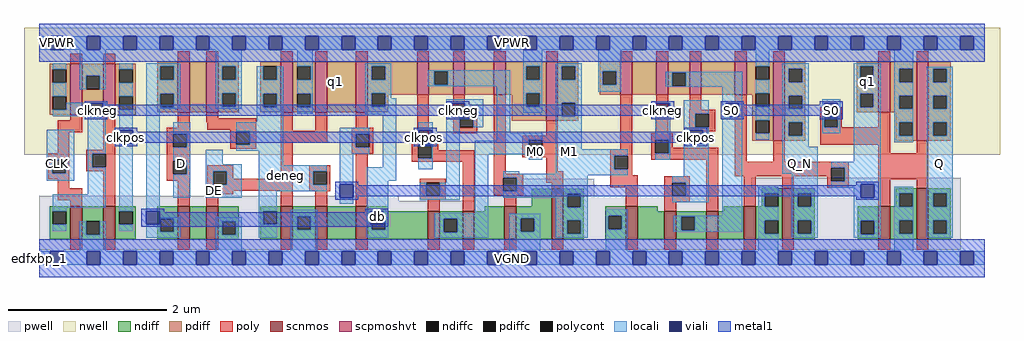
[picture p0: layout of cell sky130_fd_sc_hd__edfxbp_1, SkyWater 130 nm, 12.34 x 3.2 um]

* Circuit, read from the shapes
.subckt sky130_fd_sc_hd__edfxbp_1 CLK D DE VGND VNB VPB VPWR Q Q_N
XM1 VGND CLK n1 VNB sky130_fd_pr__nfet_01v8 w=0.42 l=0.15
XM2 n2 n1 VGND VNB sky130_fd_pr__nfet_01v8 w=0.42 l=0.15
XM3 n3 D n4 VNB sky130_fd_pr__nfet_01v8 w=0.42 l=0.15
XM4 VGND DE n3 VNB sky130_fd_pr__nfet_01v8 w=0.42 l=0.15
XM5 VGND DE n5 VNB sky130_fd_pr__nfet_01v8 w=0.42 l=0.15
XM6 n6 n5 VGND VNB sky130_fd_pr__nfet_01v8 w=0.42 l=0.15
XM7 n4 n7 n6 VNB sky130_fd_pr__nfet_01v8 w=0.42 l=0.15
XM8 n8 n1 n4 VNB sky130_fd_pr__nfet_01v8 w=0.36 l=0.15
XM9 n9 n2 n8 VNB sky130_fd_pr__nfet_01v8 w=0.36 l=0.15
XM10 VGND n10 n9 VNB sky130_fd_pr__nfet_01v8 w=0.42 l=0.15
XM11 n10 n8 VGND VNB sky130_fd_pr__nfet_01v8 w=0.64 l=0.15
XM12 n11 n10 VGND VNB sky130_fd_pr__nfet_01v8 w=0.42 l=0.15
XM13 n12 n2 n11 VNB sky130_fd_pr__nfet_01v8 w=0.36 l=0.15
XM14 n13 n1 n12 VNB sky130_fd_pr__nfet_01v8 w=0.36 l=0.15
XM15 VGND n7 n13 VNB sky130_fd_pr__nfet_01v8 w=0.42 l=0.15
XM16 Q_N n7 VGND VNB sky130_fd_pr__nfet_01v8 w=0.65 l=0.15
XM17 VGND n12 n7 VNB sky130_fd_pr__nfet_01v8 w=0.42 l=0.15
XM18 Q n12 VGND VNB sky130_fd_pr__nfet_01v8 w=0.65 l=0.15
XM19 VPWR CLK n1 VPB sky130_fd_pr__pfet_01v8_hvt w=0.64 l=0.15
XM20 n2 n1 VPWR VPB sky130_fd_pr__pfet_01v8_hvt w=0.64 l=0.15
XM21 n14 D n4 VPB sky130_fd_pr__pfet_01v8_hvt w=0.64 l=0.15
XM22 VPWR n5 n14 VPB sky130_fd_pr__pfet_01v8_hvt w=0.64 l=0.15
XM23 VPWR DE n5 VPB sky130_fd_pr__pfet_01v8_hvt w=0.64 l=0.15
XM24 n15 DE VPWR VPB sky130_fd_pr__pfet_01v8_hvt w=0.64 l=0.15
XM25 n4 n7 n15 VPB sky130_fd_pr__pfet_01v8_hvt w=0.64 l=0.15
XM26 n8 n2 n4 VPB sky130_fd_pr__pfet_01v8_hvt w=0.42 l=0.15
XM27 n16 n1 n8 VPB sky130_fd_pr__pfet_01v8_hvt w=0.42 l=0.15
XM28 VPWR n10 n16 VPB sky130_fd_pr__pfet_01v8_hvt w=0.42 l=0.15
XM29 n10 n8 VPWR VPB sky130_fd_pr__pfet_01v8_hvt w=0.75 l=0.15
XM30 n17 n10 VPWR VPB sky130_fd_pr__pfet_01v8_hvt w=0.42 l=0.15
XM31 n12 n1 n17 VPB sky130_fd_pr__pfet_01v8_hvt w=0.42 l=0.15
XM32 n18 n2 n12 VPB sky130_fd_pr__pfet_01v8_hvt w=0.42 l=0.15
XM33 VPWR n7 n18 VPB sky130_fd_pr__pfet_01v8_hvt w=0.42 l=0.15
XM34 Q_N n7 VPWR VPB sky130_fd_pr__pfet_01v8_hvt w=1 l=0.15
XM35 VPWR n12 n7 VPB sky130_fd_pr__pfet_01v8_hvt w=0.64 l=0.15
XM36 Q n12 VPWR VPB sky130_fd_pr__pfet_01v8_hvt w=1 l=0.15
.ends

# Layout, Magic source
magic
tech sky130B
magscale 1 2
<< nwell >>
rect -38 261 2430 582
<< pwell >>
rect 1220 157 1404 201
rect 1801 157 2331 203
rect 1 145 909 157
rect 1101 145 2331 157
rect 1 21 2331 145
rect 29 -17 63 21
<< scnmos >>
rect 79 47 109 131
rect 163 47 193 131
rect 351 47 381 131
rect 423 47 453 131
rect 611 47 641 131
rect 699 47 729 131
rect 801 47 831 131
rect 983 47 1013 119
rect 1071 47 1101 119
rect 1177 47 1207 131
rect 1296 47 1326 175
rect 1484 47 1514 131
rect 1581 47 1611 119
rect 1687 47 1717 119
rect 1782 47 1812 131
rect 1879 47 1909 177
rect 2122 47 2152 131
rect 2219 47 2249 177
<< scpmoshvt >>
rect 79 363 109 491
rect 163 363 193 491
rect 351 369 381 497
rect 423 369 453 497
rect 611 369 641 497
rect 699 369 729 497
rect 801 369 831 497
rect 956 413 986 497
rect 1047 413 1077 497
rect 1150 413 1180 497
rect 1282 347 1312 497
rect 1470 413 1500 497
rect 1561 413 1591 497
rect 1645 413 1675 497
rect 1759 413 1789 497
rect 1856 297 1886 497
rect 2122 369 2152 497
rect 2219 297 2249 497
<< ndiff >>
rect 27 119 79 131
rect 27 85 35 119
rect 69 85 79 119
rect 27 47 79 85
rect 109 93 163 131
rect 109 59 119 93
rect 153 59 163 93
rect 109 47 163 59
rect 193 119 245 131
rect 193 85 203 119
rect 237 85 245 119
rect 193 47 245 85
rect 299 100 351 131
rect 299 66 307 100
rect 341 66 351 100
rect 299 47 351 66
rect 381 47 423 131
rect 453 93 505 131
rect 453 59 463 93
rect 497 59 505 93
rect 453 47 505 59
rect 559 119 611 131
rect 559 85 567 119
rect 601 85 611 119
rect 559 47 611 85
rect 641 106 699 131
rect 641 72 653 106
rect 687 72 699 106
rect 641 47 699 72
rect 729 47 801 131
rect 831 119 883 131
rect 1246 131 1296 175
rect 1127 119 1177 131
rect 831 106 983 119
rect 831 72 841 106
rect 875 72 983 106
rect 831 47 983 72
rect 1013 99 1071 119
rect 1013 65 1023 99
rect 1057 65 1071 99
rect 1013 47 1071 65
rect 1101 47 1177 119
rect 1207 101 1296 131
rect 1207 67 1218 101
rect 1252 67 1296 101
rect 1207 47 1296 67
rect 1326 163 1378 175
rect 1326 129 1336 163
rect 1370 129 1378 163
rect 1326 95 1378 129
rect 1326 61 1336 95
rect 1370 61 1378 95
rect 1326 47 1378 61
rect 1432 107 1484 131
rect 1432 73 1440 107
rect 1474 73 1484 107
rect 1432 47 1484 73
rect 1514 119 1564 131
rect 1827 164 1879 177
rect 1827 131 1835 164
rect 1732 119 1782 131
rect 1514 47 1581 119
rect 1611 104 1687 119
rect 1611 70 1624 104
rect 1658 70 1687 104
rect 1611 47 1687 70
rect 1717 47 1782 119
rect 1812 130 1835 131
rect 1869 130 1879 164
rect 1812 96 1879 130
rect 1812 62 1835 96
rect 1869 62 1879 96
rect 1812 47 1879 62
rect 1909 164 1961 177
rect 1909 130 1919 164
rect 1953 130 1961 164
rect 2167 164 2219 177
rect 2167 131 2175 164
rect 1909 96 1961 130
rect 1909 62 1919 96
rect 1953 62 1961 96
rect 1909 47 1961 62
rect 2070 94 2122 131
rect 2070 60 2078 94
rect 2112 60 2122 94
rect 2070 47 2122 60
rect 2152 130 2175 131
rect 2209 130 2219 164
rect 2152 96 2219 130
rect 2152 62 2175 96
rect 2209 62 2219 96
rect 2152 47 2219 62
rect 2249 164 2305 177
rect 2249 130 2261 164
rect 2295 130 2305 164
rect 2249 96 2305 130
rect 2249 62 2261 96
rect 2295 62 2305 96
rect 2249 47 2305 62
<< pdiff >>
rect 27 477 79 491
rect 27 443 35 477
rect 69 443 79 477
rect 27 409 79 443
rect 27 375 35 409
rect 69 375 79 409
rect 27 363 79 375
rect 109 461 163 491
rect 109 427 119 461
rect 153 427 163 461
rect 109 363 163 427
rect 193 477 245 491
rect 193 443 203 477
rect 237 443 245 477
rect 193 409 245 443
rect 193 375 203 409
rect 237 375 245 409
rect 193 363 245 375
rect 299 485 351 497
rect 299 451 307 485
rect 341 451 351 485
rect 299 415 351 451
rect 299 381 307 415
rect 341 381 351 415
rect 299 369 351 381
rect 381 369 423 497
rect 453 485 505 497
rect 453 451 463 485
rect 497 451 505 485
rect 453 417 505 451
rect 453 383 463 417
rect 497 383 505 417
rect 453 369 505 383
rect 559 485 611 497
rect 559 451 567 485
rect 601 451 611 485
rect 559 415 611 451
rect 559 381 567 415
rect 601 381 611 415
rect 559 369 611 381
rect 641 485 699 497
rect 641 451 653 485
rect 687 451 699 485
rect 641 415 699 451
rect 641 381 653 415
rect 687 381 699 415
rect 641 369 699 381
rect 729 369 801 497
rect 831 485 956 497
rect 831 451 841 485
rect 875 451 956 485
rect 831 417 956 451
rect 831 383 841 417
rect 875 413 956 417
rect 986 472 1047 497
rect 986 438 999 472
rect 1033 438 1047 472
rect 986 413 1047 438
rect 1077 413 1150 497
rect 1180 485 1282 497
rect 1180 451 1232 485
rect 1266 451 1282 485
rect 1180 417 1282 451
rect 1180 413 1232 417
rect 875 383 883 413
rect 831 369 883 383
rect 1195 383 1232 413
rect 1266 383 1282 417
rect 1195 347 1282 383
rect 1312 485 1364 497
rect 1312 451 1322 485
rect 1356 451 1364 485
rect 1312 393 1364 451
rect 1418 472 1470 497
rect 1418 438 1426 472
rect 1460 438 1470 472
rect 1418 413 1470 438
rect 1500 413 1561 497
rect 1591 469 1645 497
rect 1591 435 1601 469
rect 1635 435 1645 469
rect 1591 413 1645 435
rect 1675 413 1759 497
rect 1789 485 1856 497
rect 1789 451 1812 485
rect 1846 451 1856 485
rect 1789 417 1856 451
rect 1789 413 1812 417
rect 1312 359 1322 393
rect 1356 359 1364 393
rect 1312 347 1364 359
rect 1804 383 1812 413
rect 1846 383 1856 417
rect 1804 349 1856 383
rect 1804 315 1812 349
rect 1846 315 1856 349
rect 1804 297 1856 315
rect 1886 479 1938 497
rect 1886 445 1896 479
rect 1930 445 1938 479
rect 1886 411 1938 445
rect 1886 377 1896 411
rect 1930 377 1938 411
rect 2068 485 2122 497
rect 2068 451 2076 485
rect 2110 451 2122 485
rect 2068 415 2122 451
rect 2068 381 2076 415
rect 2110 381 2122 415
rect 1886 343 1938 377
rect 1886 309 1896 343
rect 1930 309 1938 343
rect 1886 297 1938 309
rect 2068 369 2122 381
rect 2152 479 2219 497
rect 2152 445 2175 479
rect 2209 445 2219 479
rect 2152 411 2219 445
rect 2152 377 2175 411
rect 2209 377 2219 411
rect 2152 369 2219 377
rect 2167 343 2219 369
rect 2167 309 2175 343
rect 2209 309 2219 343
rect 2167 297 2219 309
rect 2249 479 2305 497
rect 2249 445 2261 479
rect 2295 445 2305 479
rect 2249 411 2305 445
rect 2249 377 2261 411
rect 2295 377 2305 411
rect 2249 343 2305 377
rect 2249 309 2261 343
rect 2295 309 2305 343
rect 2249 297 2305 309
<< ndiffc >>
rect 35 85 69 119
rect 119 59 153 93
rect 203 85 237 119
rect 307 66 341 100
rect 463 59 497 93
rect 567 85 601 119
rect 653 72 687 106
rect 841 72 875 106
rect 1023 65 1057 99
rect 1218 67 1252 101
rect 1336 129 1370 163
rect 1336 61 1370 95
rect 1440 73 1474 107
rect 1624 70 1658 104
rect 1835 130 1869 164
rect 1835 62 1869 96
rect 1919 130 1953 164
rect 1919 62 1953 96
rect 2078 60 2112 94
rect 2175 130 2209 164
rect 2175 62 2209 96
rect 2261 130 2295 164
rect 2261 62 2295 96
<< pdiffc >>
rect 35 443 69 477
rect 35 375 69 409
rect 119 427 153 461
rect 203 443 237 477
rect 203 375 237 409
rect 307 451 341 485
rect 307 381 341 415
rect 463 451 497 485
rect 463 383 497 417
rect 567 451 601 485
rect 567 381 601 415
rect 653 451 687 485
rect 653 381 687 415
rect 841 451 875 485
rect 841 383 875 417
rect 999 438 1033 472
rect 1232 451 1266 485
rect 1232 383 1266 417
rect 1322 451 1356 485
rect 1426 438 1460 472
rect 1601 435 1635 469
rect 1812 451 1846 485
rect 1322 359 1356 393
rect 1812 383 1846 417
rect 1812 315 1846 349
rect 1896 445 1930 479
rect 1896 377 1930 411
rect 2076 451 2110 485
rect 2076 381 2110 415
rect 1896 309 1930 343
rect 2175 445 2209 479
rect 2175 377 2209 411
rect 2175 309 2209 343
rect 2261 445 2295 479
rect 2261 377 2295 411
rect 2261 309 2295 343
<< poly >>
rect 79 491 109 517
rect 163 491 193 517
rect 351 497 381 523
rect 423 497 453 523
rect 611 497 641 523
rect 699 497 729 523
rect 801 497 831 523
rect 956 497 986 523
rect 1047 497 1077 523
rect 1150 497 1180 523
rect 1282 497 1312 523
rect 1470 497 1500 523
rect 1561 497 1591 523
rect 1645 497 1675 523
rect 1759 497 1789 523
rect 1856 497 1886 523
rect 2122 497 2152 523
rect 2219 497 2249 523
rect 79 348 109 363
rect 47 318 109 348
rect 47 265 77 318
rect 163 274 193 363
rect 351 330 381 369
rect 423 354 453 369
rect 423 343 549 354
rect 23 249 77 265
rect 23 215 33 249
rect 67 215 77 249
rect 119 264 193 274
rect 119 230 135 264
rect 169 230 193 264
rect 119 220 193 230
rect 23 199 77 215
rect 47 176 77 199
rect 47 146 109 176
rect 79 131 109 146
rect 163 131 193 220
rect 323 314 383 330
rect 425 324 549 343
rect 323 280 339 314
rect 373 280 383 314
rect 323 246 383 280
rect 483 321 549 324
rect 483 287 499 321
rect 533 287 549 321
rect 483 277 549 287
rect 611 322 641 369
rect 699 322 729 369
rect 801 330 831 369
rect 611 292 729 322
rect 791 314 845 330
rect 323 212 339 246
rect 373 212 383 246
rect 323 196 383 212
rect 425 219 491 235
rect 351 131 381 196
rect 425 185 441 219
rect 475 200 491 219
rect 611 200 641 292
rect 791 280 801 314
rect 835 280 845 314
rect 956 297 986 413
rect 1047 381 1077 413
rect 1047 365 1108 381
rect 1047 331 1064 365
rect 1098 331 1108 365
rect 1047 315 1108 331
rect 791 264 845 280
rect 943 287 1009 297
rect 475 185 641 200
rect 425 176 641 185
rect 423 170 641 176
rect 423 162 491 170
rect 423 131 453 162
rect 611 131 641 170
rect 683 219 737 235
rect 683 185 693 219
rect 727 185 737 219
rect 683 169 737 185
rect 699 131 729 169
rect 801 131 831 264
rect 943 253 959 287
rect 993 273 1009 287
rect 993 253 1101 273
rect 943 243 1101 253
rect 963 191 1029 201
rect 963 157 979 191
rect 1013 157 1029 191
rect 963 147 1029 157
rect 983 119 1013 147
rect 1071 119 1101 243
rect 1150 213 1180 413
rect 1282 309 1312 347
rect 1222 299 1312 309
rect 1222 265 1238 299
rect 1272 265 1312 299
rect 1470 275 1500 413
rect 1561 315 1591 413
rect 1645 375 1675 413
rect 1644 365 1710 375
rect 1644 331 1660 365
rect 1694 331 1710 365
rect 1644 321 1710 331
rect 1222 255 1312 265
rect 1282 220 1312 255
rect 1445 259 1500 275
rect 1445 225 1455 259
rect 1489 225 1500 259
rect 1548 299 1602 315
rect 1548 265 1558 299
rect 1592 279 1602 299
rect 1592 265 1717 279
rect 1548 249 1717 265
rect 1150 203 1224 213
rect 1150 169 1174 203
rect 1208 169 1224 203
rect 1282 190 1326 220
rect 1296 175 1326 190
rect 1445 209 1500 225
rect 1445 179 1514 209
rect 1150 159 1224 169
rect 1177 131 1207 159
rect 1484 131 1514 179
rect 1581 191 1645 207
rect 1581 157 1601 191
rect 1635 157 1645 191
rect 1581 141 1645 157
rect 1581 119 1611 141
rect 1687 119 1717 249
rect 1759 244 1789 413
rect 1976 365 2030 381
rect 1976 331 1986 365
rect 2020 331 2030 365
rect 2122 331 2152 369
rect 1856 244 1886 297
rect 1976 286 2152 331
rect 2122 265 2152 286
rect 2219 265 2249 297
rect 1759 228 2047 244
rect 1759 207 2003 228
rect 1782 131 1812 207
rect 1879 177 1909 207
rect 1993 194 2003 207
rect 2037 194 2047 228
rect 1993 178 2047 194
rect 2122 199 2249 265
rect 2122 131 2152 199
rect 2219 177 2249 199
rect 79 21 109 47
rect 163 21 193 47
rect 351 21 381 47
rect 423 21 453 47
rect 611 21 641 47
rect 699 21 729 47
rect 801 21 831 47
rect 983 21 1013 47
rect 1071 21 1101 47
rect 1177 21 1207 47
rect 1296 21 1326 47
rect 1484 21 1514 47
rect 1581 21 1611 47
rect 1687 21 1717 47
rect 1782 21 1812 47
rect 1879 21 1909 47
rect 2122 21 2152 47
rect 2219 21 2249 47
<< polycont >>
rect 33 215 67 249
rect 135 230 169 264
rect 339 280 373 314
rect 499 287 533 321
rect 339 212 373 246
rect 441 185 475 219
rect 801 280 835 314
rect 1064 331 1098 365
rect 693 185 727 219
rect 959 253 993 287
rect 979 157 1013 191
rect 1238 265 1272 299
rect 1660 331 1694 365
rect 1455 225 1489 259
rect 1558 265 1592 299
rect 1174 169 1208 203
rect 1601 157 1635 191
rect 1986 331 2020 365
rect 2003 194 2037 228
<< locali >>
rect 0 527 29 561
rect 63 527 121 561
rect 155 527 213 561
rect 247 527 305 561
rect 339 527 397 561
rect 431 527 489 561
rect 523 527 581 561
rect 615 527 673 561
rect 707 527 765 561
rect 799 527 857 561
rect 891 527 949 561
rect 983 527 1041 561
rect 1075 527 1133 561
rect 1167 527 1225 561
rect 1259 527 1317 561
rect 1351 527 1409 561
rect 1443 527 1501 561
rect 1535 527 1593 561
rect 1627 527 1685 561
rect 1719 527 1777 561
rect 1811 527 1869 561
rect 1903 527 1961 561
rect 1995 527 2053 561
rect 2087 527 2145 561
rect 2179 527 2237 561
rect 2271 527 2329 561
rect 2363 527 2392 561
rect 35 477 69 493
rect 35 409 69 443
rect 103 461 169 527
rect 103 427 119 461
rect 153 427 169 461
rect 203 477 237 493
rect 203 409 237 443
rect 69 391 169 393
rect 69 375 127 391
rect 35 359 127 375
rect 123 357 127 359
rect 161 357 169 391
rect 19 249 89 325
rect 19 215 33 249
rect 67 215 89 249
rect 19 195 89 215
rect 123 264 169 357
rect 123 230 135 264
rect 123 161 169 230
rect 35 127 169 161
rect 203 323 237 375
rect 35 119 69 127
rect 203 119 237 289
rect 35 69 69 85
rect 103 59 119 93
rect 153 59 169 93
rect 203 69 237 85
rect 271 485 357 493
rect 271 451 307 485
rect 341 451 357 485
rect 271 415 357 451
rect 271 381 307 415
rect 341 381 357 415
rect 271 378 357 381
rect 447 485 513 527
rect 653 485 692 527
rect 447 451 463 485
rect 497 451 513 485
rect 447 417 513 451
rect 447 383 463 417
rect 497 383 513 417
rect 447 378 513 383
rect 551 451 567 485
rect 601 451 617 485
rect 551 415 617 451
rect 551 381 567 415
rect 601 381 617 415
rect 271 119 305 378
rect 551 344 617 381
rect 687 451 692 485
rect 653 415 692 451
rect 687 381 692 415
rect 653 365 692 381
rect 825 485 891 493
rect 825 451 841 485
rect 875 451 891 485
rect 1225 485 1272 527
rect 825 417 891 451
rect 983 472 1191 475
rect 983 438 999 472
rect 1033 438 1191 472
rect 983 435 1191 438
rect 825 383 841 417
rect 875 404 891 417
rect 875 383 903 404
rect 825 364 903 383
rect 339 314 383 344
rect 373 280 383 314
rect 339 246 383 280
rect 499 321 617 344
rect 533 287 617 321
rect 373 212 383 246
rect 339 153 383 212
rect 422 237 465 274
rect 499 271 617 287
rect 422 219 513 237
rect 422 185 441 219
rect 475 185 513 219
rect 422 153 513 185
rect 556 235 617 271
rect 761 314 835 330
rect 761 280 801 314
rect 761 264 835 280
rect 556 219 727 235
rect 556 185 693 219
rect 556 169 727 185
rect 761 187 795 264
rect 869 230 903 364
rect 1030 391 1123 401
rect 1030 357 1042 391
rect 1076 365 1123 391
rect 556 119 601 169
rect 761 137 795 153
rect 829 196 903 230
rect 959 323 996 344
rect 959 289 960 323
rect 994 289 996 323
rect 959 287 996 289
rect 993 253 996 287
rect 959 225 996 253
rect 305 100 357 103
rect 305 85 307 100
rect 103 17 169 59
rect 271 66 307 85
rect 341 66 357 100
rect 271 51 357 66
rect 447 93 513 103
rect 447 59 463 93
rect 497 59 513 93
rect 447 17 513 59
rect 556 85 567 119
rect 556 51 601 85
rect 637 106 703 122
rect 637 72 653 106
rect 687 72 703 106
rect 637 17 703 72
rect 829 119 883 196
rect 1030 191 1064 357
rect 1098 331 1123 365
rect 1157 315 1191 435
rect 1225 451 1232 485
rect 1266 451 1272 485
rect 1225 417 1272 451
rect 1225 383 1232 417
rect 1266 383 1272 417
rect 1225 367 1272 383
rect 1306 485 1372 493
rect 1306 451 1322 485
rect 1356 451 1372 485
rect 1306 393 1372 451
rect 1414 472 1472 527
rect 1414 438 1426 472
rect 1460 438 1472 472
rect 1812 485 1846 527
rect 1414 421 1472 438
rect 1585 469 1778 471
rect 1585 435 1601 469
rect 1635 435 1778 469
rect 1585 433 1778 435
rect 1306 359 1322 393
rect 1356 359 1372 393
rect 1157 299 1272 315
rect 1157 297 1238 299
rect 963 157 979 191
rect 1013 157 1064 191
rect 963 147 1064 157
rect 1102 265 1238 297
rect 1102 263 1272 265
rect 829 85 837 119
rect 871 106 883 119
rect 1102 113 1136 263
rect 1238 249 1272 263
rect 1306 275 1372 359
rect 1558 391 1596 393
rect 1558 357 1560 391
rect 1594 357 1596 391
rect 1558 299 1596 357
rect 1306 259 1489 275
rect 1306 225 1455 259
rect 1592 265 1596 299
rect 1558 249 1596 265
rect 1630 365 1694 399
rect 1630 331 1660 365
rect 1630 323 1694 331
rect 1630 289 1644 323
rect 1678 289 1694 323
rect 1174 213 1214 219
rect 1306 213 1489 225
rect 1174 209 1489 213
rect 1174 203 1387 209
rect 1630 207 1694 289
rect 1208 169 1387 203
rect 1174 163 1387 169
rect 1174 153 1336 163
rect 829 72 841 85
rect 875 72 883 106
rect 829 51 883 72
rect 1001 99 1136 113
rect 1306 129 1336 153
rect 1370 129 1387 163
rect 1601 191 1694 207
rect 1635 157 1694 191
rect 1601 141 1694 157
rect 1728 391 1778 433
rect 1728 357 1736 391
rect 1770 357 1778 391
rect 1001 65 1023 99
rect 1057 65 1136 99
rect 1001 51 1136 65
rect 1189 101 1268 112
rect 1189 67 1218 101
rect 1252 67 1268 101
rect 1189 17 1268 67
rect 1306 95 1387 129
rect 1306 61 1336 95
rect 1370 61 1387 95
rect 1306 51 1387 61
rect 1433 107 1488 123
rect 1728 107 1778 357
rect 1812 417 1846 451
rect 1812 349 1846 383
rect 1812 299 1846 315
rect 1880 479 1946 493
rect 1880 445 1896 479
rect 1930 445 1946 479
rect 1880 411 1946 445
rect 1880 377 1896 411
rect 1930 377 1946 411
rect 2060 485 2128 493
rect 2060 451 2076 485
rect 2110 451 2128 485
rect 2060 415 2128 451
rect 1880 343 1946 377
rect 1880 309 1896 343
rect 1930 309 1946 343
rect 1980 391 2026 402
rect 1980 331 1986 391
rect 2020 331 2026 391
rect 1980 315 2026 331
rect 2060 381 2076 415
rect 2110 381 2128 415
rect 1880 282 1946 309
rect 1880 213 1969 282
rect 2060 244 2128 381
rect 2162 479 2211 527
rect 2162 445 2175 479
rect 2209 445 2211 479
rect 2162 411 2211 445
rect 2162 377 2175 411
rect 2209 377 2211 411
rect 2162 343 2211 377
rect 2162 309 2175 343
rect 2209 309 2211 343
rect 2162 293 2211 309
rect 2245 479 2311 484
rect 2245 445 2261 479
rect 2295 445 2311 479
rect 2245 411 2311 445
rect 2245 377 2261 411
rect 2295 377 2311 411
rect 2245 343 2311 377
rect 2245 309 2261 343
rect 2295 309 2311 343
rect 1433 73 1440 107
rect 1474 73 1488 107
rect 1433 17 1488 73
rect 1605 104 1778 107
rect 1605 70 1624 104
rect 1658 70 1778 104
rect 1605 66 1778 70
rect 1819 164 1869 180
rect 1819 130 1835 164
rect 1819 96 1869 130
rect 1819 62 1835 96
rect 1819 17 1869 62
rect 1903 164 1969 213
rect 2003 228 2128 244
rect 2037 194 2128 228
rect 2003 187 2128 194
rect 2003 178 2078 187
rect 1903 130 1919 164
rect 1953 130 1969 164
rect 1903 96 1969 130
rect 1903 62 1919 96
rect 1953 62 1969 96
rect 1903 51 1969 62
rect 2060 153 2078 178
rect 2112 153 2128 187
rect 2060 94 2128 153
rect 2060 60 2078 94
rect 2112 60 2128 94
rect 2060 51 2128 60
rect 2162 164 2211 180
rect 2162 130 2175 164
rect 2209 130 2211 164
rect 2162 96 2211 130
rect 2162 62 2175 96
rect 2209 62 2211 96
rect 2162 17 2211 62
rect 2245 164 2311 309
rect 2245 130 2261 164
rect 2295 130 2311 164
rect 2245 96 2311 130
rect 2245 62 2261 96
rect 2295 62 2311 96
rect 2245 51 2311 62
rect 0 -17 29 17
rect 63 -17 121 17
rect 155 -17 213 17
rect 247 -17 305 17
rect 339 -17 397 17
rect 431 -17 489 17
rect 523 -17 581 17
rect 615 -17 673 17
rect 707 -17 765 17
rect 799 -17 857 17
rect 891 -17 949 17
rect 983 -17 1041 17
rect 1075 -17 1133 17
rect 1167 -17 1225 17
rect 1259 -17 1317 17
rect 1351 -17 1409 17
rect 1443 -17 1501 17
rect 1535 -17 1593 17
rect 1627 -17 1685 17
rect 1719 -17 1777 17
rect 1811 -17 1869 17
rect 1903 -17 1961 17
rect 1995 -17 2053 17
rect 2087 -17 2145 17
rect 2179 -17 2237 17
rect 2271 -17 2329 17
rect 2363 -17 2392 17
<< viali >>
rect 29 527 63 561
rect 121 527 155 561
rect 213 527 247 561
rect 305 527 339 561
rect 397 527 431 561
rect 489 527 523 561
rect 581 527 615 561
rect 673 527 707 561
rect 765 527 799 561
rect 857 527 891 561
rect 949 527 983 561
rect 1041 527 1075 561
rect 1133 527 1167 561
rect 1225 527 1259 561
rect 1317 527 1351 561
rect 1409 527 1443 561
rect 1501 527 1535 561
rect 1593 527 1627 561
rect 1685 527 1719 561
rect 1777 527 1811 561
rect 1869 527 1903 561
rect 1961 527 1995 561
rect 2053 527 2087 561
rect 2145 527 2179 561
rect 2237 527 2271 561
rect 2329 527 2363 561
rect 127 357 161 391
rect 203 289 237 323
rect 1042 365 1076 391
rect 1042 357 1064 365
rect 1064 357 1076 365
rect 271 85 305 119
rect 761 153 795 187
rect 960 289 994 323
rect 837 106 871 119
rect 1560 357 1594 391
rect 1644 289 1678 323
rect 837 85 841 106
rect 841 85 871 106
rect 1736 357 1770 391
rect 1986 365 2020 391
rect 1986 357 2020 365
rect 2078 153 2112 187
rect 29 -17 63 17
rect 121 -17 155 17
rect 213 -17 247 17
rect 305 -17 339 17
rect 397 -17 431 17
rect 489 -17 523 17
rect 581 -17 615 17
rect 673 -17 707 17
rect 765 -17 799 17
rect 857 -17 891 17
rect 949 -17 983 17
rect 1041 -17 1075 17
rect 1133 -17 1167 17
rect 1225 -17 1259 17
rect 1317 -17 1351 17
rect 1409 -17 1443 17
rect 1501 -17 1535 17
rect 1593 -17 1627 17
rect 1685 -17 1719 17
rect 1777 -17 1811 17
rect 1869 -17 1903 17
rect 1961 -17 1995 17
rect 2053 -17 2087 17
rect 2145 -17 2179 17
rect 2237 -17 2271 17
rect 2329 -17 2363 17
<< metal1 >>
rect 0 561 2392 592
rect 0 527 29 561
rect 63 527 121 561
rect 155 527 213 561
rect 247 527 305 561
rect 339 527 397 561
rect 431 527 489 561
rect 523 527 581 561
rect 615 527 673 561
rect 707 527 765 561
rect 799 527 857 561
rect 891 527 949 561
rect 983 527 1041 561
rect 1075 527 1133 561
rect 1167 527 1225 561
rect 1259 527 1317 561
rect 1351 527 1409 561
rect 1443 527 1501 561
rect 1535 527 1593 561
rect 1627 527 1685 561
rect 1719 527 1777 561
rect 1811 527 1869 561
rect 1903 527 1961 561
rect 1995 527 2053 561
rect 2087 527 2145 561
rect 2179 527 2237 561
rect 2271 527 2329 561
rect 2363 527 2392 561
rect 0 496 2392 527
rect 115 391 173 397
rect 115 357 127 391
rect 161 388 173 391
rect 1030 391 1088 397
rect 1030 388 1042 391
rect 161 360 1042 388
rect 161 357 173 360
rect 115 351 173 357
rect 1030 357 1042 360
rect 1076 388 1088 391
rect 1548 391 1606 397
rect 1548 388 1560 391
rect 1076 360 1560 388
rect 1076 357 1088 360
rect 1030 351 1088 357
rect 1548 357 1560 360
rect 1594 357 1606 391
rect 1548 351 1606 357
rect 1724 391 1782 397
rect 1724 357 1736 391
rect 1770 388 1782 391
rect 1974 391 2032 397
rect 1974 388 1986 391
rect 1770 360 1986 388
rect 1770 357 1782 360
rect 1724 351 1782 357
rect 1974 357 1986 360
rect 2020 357 2032 391
rect 1974 351 2032 357
rect 191 323 249 329
rect 191 289 203 323
rect 237 320 249 323
rect 948 323 1006 329
rect 948 320 960 323
rect 237 292 960 320
rect 237 289 249 292
rect 191 283 249 289
rect 948 289 960 292
rect 994 320 1006 323
rect 1632 323 1690 329
rect 1632 320 1644 323
rect 994 292 1644 320
rect 994 289 1006 292
rect 948 283 1006 289
rect 1632 289 1644 292
rect 1678 289 1690 323
rect 1632 283 1690 289
rect 749 187 807 193
rect 749 153 761 187
rect 795 184 807 187
rect 2066 187 2124 193
rect 2066 184 2078 187
rect 795 156 2078 184
rect 795 153 807 156
rect 749 147 807 153
rect 2066 153 2078 156
rect 2112 153 2124 187
rect 2066 147 2124 153
rect 259 119 317 125
rect 259 85 271 119
rect 305 116 317 119
rect 825 119 883 125
rect 825 116 837 119
rect 305 85 837 116
rect 871 85 883 119
rect 259 79 883 85
rect 0 17 2392 48
rect 0 -17 29 17
rect 63 -17 121 17
rect 155 -17 213 17
rect 247 -17 305 17
rect 339 -17 397 17
rect 431 -17 489 17
rect 523 -17 581 17
rect 615 -17 673 17
rect 707 -17 765 17
rect 799 -17 857 17
rect 891 -17 949 17
rect 983 -17 1041 17
rect 1075 -17 1133 17
rect 1167 -17 1225 17
rect 1259 -17 1317 17
rect 1351 -17 1409 17
rect 1443 -17 1501 17
rect 1535 -17 1593 17
rect 1627 -17 1685 17
rect 1719 -17 1777 17
rect 1811 -17 1869 17
rect 1903 -17 1961 17
rect 1995 -17 2053 17
rect 2087 -17 2145 17
rect 2179 -17 2237 17
rect 2271 -17 2329 17
rect 2363 -17 2392 17
rect 0 -48 2392 -17
<< labels >>
rlabel comment s 0 0 0 0 4 edfxbp_1
flabel comment s 973 304 973 304 0 FreeSans 200 0 0 0 clkpos
flabel comment s 1060 374 1060 374 0 FreeSans 200 0 0 0 clkneg
flabel comment s 2005 374 2005 374 0 FreeSans 200 0 0 0 S0
flabel comment s 219 304 219 304 0 FreeSans 200 0 0 0 clkpos
flabel comment s 147 374 147 374 0 FreeSans 200 0 0 0 clkneg
flabel comment s 623 209 623 209 0 FreeSans 200 0 0 0 deneg
flabel comment s 855 104 855 104 0 FreeSans 200 0 0 0 db
flabel comment s 749 446 749 446 0 FreeSans 200 0 0 0 q1
flabel comment s 2096 446 2096 446 0 FreeSans 200 0 0 0 q1
flabel comment s 1660 304 1660 304 0 FreeSans 200 0 0 0 clkpos
flabel comment s 1577 374 1577 374 0 FreeSans 200 0 0 0 clkneg
flabel comment s 1752 374 1752 374 0 FreeSans 200 0 0 0 S0
flabel comment s 1256 269 1256 269 0 FreeSans 200 0 0 0 M0
flabel comment s 1342 269 1342 269 0 FreeSans 200 0 0 0 M1
flabel metal1 s 29 527 63 561 0 FreeSans 200 0 0 0 VPWR
port 7 nsew power bidirectional abutment
flabel metal1 s 29 -17 63 17 0 FreeSans 200 0 0 0 VGND
port 4 nsew ground bidirectional abutment
flabel locali s 29 221 63 255 0 FreeSans 400 0 0 0 CLK
port 1 nsew clock input
flabel locali s 1905 221 1939 255 0 FreeSans 400 0 0 0 Q_N
port 9 nsew signal output
flabel locali s 426 153 460 187 0 FreeSans 400 0 0 0 DE
port 3 nsew signal input
flabel locali s 344 221 378 255 0 FreeSans 400 0 0 0 D
port 2 nsew signal input
flabel locali s 2259 221 2293 255 0 FreeSans 400 0 0 0 Q
port 8 nsew signal output
flabel nwell s 29 527 63 561 0 FreeSans 200 0 0 0 VPB
port 6 nsew power bidirectional
flabel nwell s 46 544 46 544 0 FreeSans 200 0 0 0 VPB
flabel pwell s 29 -17 63 17 0 FreeSans 400 0 0 0 VNB
port 5 nsew ground bidirectional
flabel pwell s 46 0 46 0 0 FreeSans 200 0 0 0 VNB
flabel pwell s 46 0 46 0 0 FreeSans 200 0 0 0 VNB
rlabel metal1 s 0 -48 2392 48 1 VGND
port 4 nsew ground bidirectional abutment
rlabel metal1 s 0 496 2392 592 1 VPWR
port 7 nsew power bidirectional abutment
<< properties >>
string FIXED_BBOX 0 0 2392 544
string GDS_END 2997632
string GDS_FILE $PDKPATH/libs.ref/sky130_fd_sc_hd/gds/sky130_fd_sc_hd.gds
string GDS_START 2978648
string LEFclass CORE
string LEFsite unithd
string LEFsymmetry X Y R90
<< end >>
